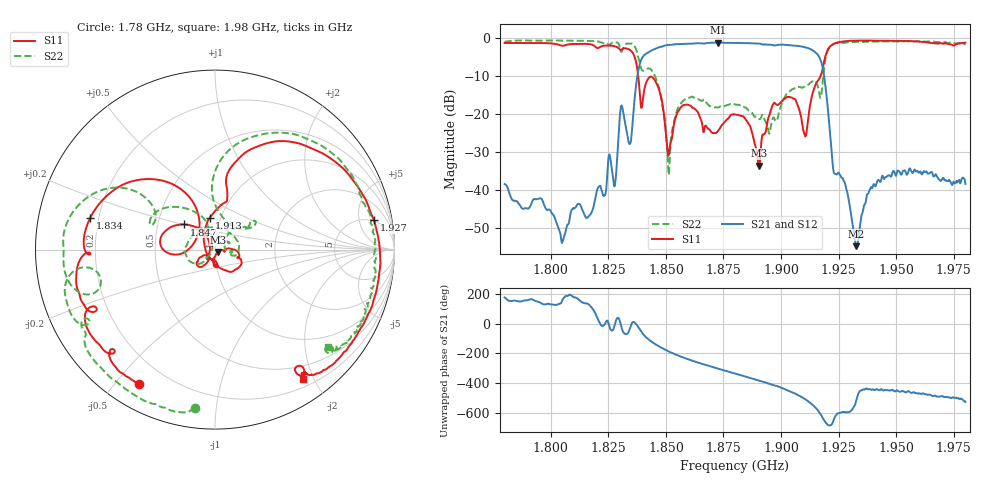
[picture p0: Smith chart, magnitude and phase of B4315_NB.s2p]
! Matrix data file written by TouchstoneData, EPCOS AG
! FILENAME: "B4315_NB_matched.s2p"
! COMMENT: "including matching"
! INFO: nport=2, nfreq=1601
! DATE: "Thu Jan 31 14:55:53 2013"
! USER: "Michael Schemies"
! port | pin | signal
!  1  |  1  |  in
!  2  |  4  |  out
# MHZ S MA R 50
! freq  magS11 angS11  magS21 angS21  magS12 angS12  magS22 angS22
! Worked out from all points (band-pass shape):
!   1601 points, 1.78 GHz to 1.98 GHz, reference 50 ohm
!   highest |S21| = -1.21 dB at 1.873 GHz (marker M1); lowest = -54.9 dB at 1.933 GHz (marker M2)
!   |S21| within 3 dB of the highest: 1.841 GHz to 1.916 GHz (74.46 MHz wide, 3.96 % of centre)
!   lowest |S11| = -33.6 dB at 1.891 GHz (marker M3), VSWR 1.04, Z = 51.6 - j1.37 ohm
!   |S11| at or under -10 dB: 1.838 GHz to 1.917 GHz (79.13 MHz wide, 4.21 % of centre)
!   |S22| runs from -36.1 to -0.6 dB; largest |S21 - S12| = 0
!   S11 on the Smith chart (normalised r, x): 1.78 GHz: 0.10, -0.58; 1.834 GHz: 0.17, +0.12; 1.847 GHz: 0.68, +0.20; 1.913 GHz: 0.89, +0.32; 1.927 GHz: 4.71, +8.18; 1.98 GHz: 0.31, -1.85
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1780  0.8623 -119.4  0.01192 174.8  0.01192 174.8  0.8921 -97.3
1805.125  0.7922 -135.3  0.002067 160.1  0.002067 160.1  0.9259 -119.1
1813.375  0.8381 -143.1  0.005814 144.6  0.005814 144.6  0.9205 -129.2
1827.75  0.7818 -170.9  0.01114 -11.1  0.01114 -11.1  0.879 -157.4
1830.75  0.7011 -177.7  0.1295 -26.0  0.1295 -26.0  0.659 -164.5
1833.625  0.7178 165.8  0.04495 -60.8  0.04495 -60.8  0.8472 -174.6
1838.875  0.1564 123.5  0.4764 -43.9  0.4764 -43.9  0.4342 144.5
1846.75  0.2208 140.5  0.7512 -150.7  0.7512 -150.7  0.2371 118.0
1851.125  0.02819 180.0  0.8135 173.5  0.8135 173.5  0.01697 151.8
1857.5  0.1301 -132.1  0.8401 132.5  0.8401 132.5  0.149 -151.6
1872.5  0.05943 -93.4  0.8704 58.2  0.8704 58.2  0.1213 68.8
1880  0.09834 -86.7  0.8634 25.1  0.8634 25.1  0.1337 4.3
1890.5  0.02091 -39.4  0.8464 -23.2  0.8464 -23.2  0.08587 -9.2
1904  0.1663 -35.8  0.8034 -95.1  0.8034 -95.1  0.2014 38.4
1913.375  0.1722 101.8  0.6994 179.0  0.6994 179.0  0.2664 37.2
1913.5  0.1785 99.8  0.695 177.3  0.695 177.3  0.2677 37.0
1919  0.5415 74.3  0.2684 63.8  0.2684 63.8  0.4771 87.8
1922.875  0.8412 33.4  0.01689 76.6  0.01689 76.6  0.8371 42.1
1926.75  0.9003 10.5  0.01423 126.8  0.01423 126.8  0.8635 20.9
1932.5  0.9259 -10.0  0.001809 -163.1  0.001809 -163.1  0.8904 4.7
1946.75  0.9202 -35.8  0.01552 -88.2  0.01552 -88.2  0.9065 -17.6
1980  0.8702 -55.7  0.01195 -164.8  0.01195 -164.8  0.8317 -40.6
